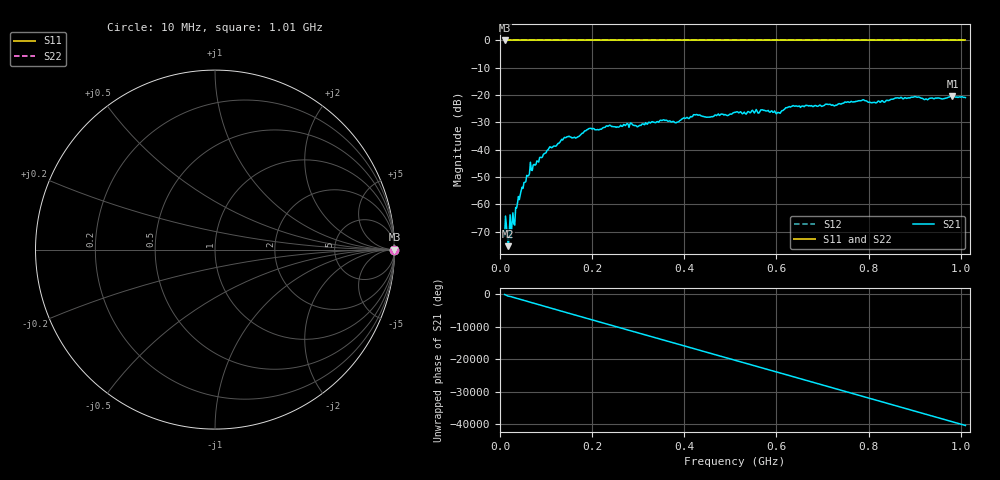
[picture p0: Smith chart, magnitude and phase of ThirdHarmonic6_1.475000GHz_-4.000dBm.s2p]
! 8/16/2025 5:12:33 PM
! C:\ANRITSUVNA\TEMP\TEMP.S2P
! CHANNEL.1
! TR.MEASUREMENT
! RAW.DATA
! RF.CORRECTION.OFF
! AVERAGING.OFF
! IF.BANDWIDTH: 5KHZ
! SWEEPTYPE:  FREQ.SWEEP(Linear)
! Reference Plane Port Info
! PORT:  PORT1  PORT2
! DISTANCE:  0  m  0  m
! TIME:  0  s  0  s
! PHASE.OFFSET:  0  deg.  0  deg.
! LOSS:  0  dB  0  dB
! REF.LOSS:  0  dB  0  dB
! REF.FREQ:  0  Hz  0  Hz
! Power Info
! POWER:  -20  dBm  -20  dBm
! EFF.POWER:  -20  dBm  -20  dBm
! SOURCE.ATTEN:  0  dB  0  dB
! TEST.ATTEN:  0  dB  0  dB
# GHZ S RI R 50.0
! FREQ.GHZ  S11RE  S11IM  S21RE  S21IM  S12RE  S12IM  S22RE  S22IM
!; PortSelection: Port_12
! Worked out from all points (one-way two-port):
!   501 points, 10 MHz to 1.01 GHz, reference 50 ohm
!   highest |S21| = -20.48 dB at 982 MHz (marker M1); lowest = -75.4 dB at 18 MHz (marker M2)
!   lowest |S11| = 0.0 dB at 10 MHz (marker M3)
!   |S11| at or under -10 dB: nowhere
!   |S22| runs from 0.0 to 0.0 dB; largest |S21 - S12| = 1.1
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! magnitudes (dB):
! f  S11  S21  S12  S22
! 10 MHz  0.0  -71.7  0.0  0.0
! 18 MHz  0.0  -75.4  0.0  0.0
! 20 MHz  0.0  -70.9  0.0  0.0
! 24 MHz  0.0  -72.6  0.0  0.0
! 28 MHz  0.0  -63.2  0.0  0.0
! 44 MHz  0.0  -56.5  0.0  0.0
! 70 MHz  0.0  -47.6  0.0  0.0
! 106 MHz  0.0  -39.6  0.0  0.0
! 136 MHz  0.0  -36.5  0.0  0.0
! 178 MHz  0.0  -34.0  0.0  0.0
! 194 MHz  0.0  -32.2  0.0  0.0
! 344 MHz  0.0  -30.0  0.0  0.0
! 384 MHz  0.0  -30.0  0.0  0.0
! 424 MHz  0.0  -27.3  0.0  0.0
! 452 MHz  0.0  -28.1  0.0  0.0
! 510 MHz  0.0  -26.3  0.0  0.0
! 604 MHz  0.0  -26.4  0.0  0.0
! 632 MHz  0.0  -24.2  0.0  0.0
! 678 MHz  0.0  -24.2  0.0  0.0
! 844 MHz  0.0  -22.0  0.0  0.0
! 982 MHz  0.0  -20.5  0.0  0.0
! 1.01 GHz  0.0  -20.9  0.0  0.0
